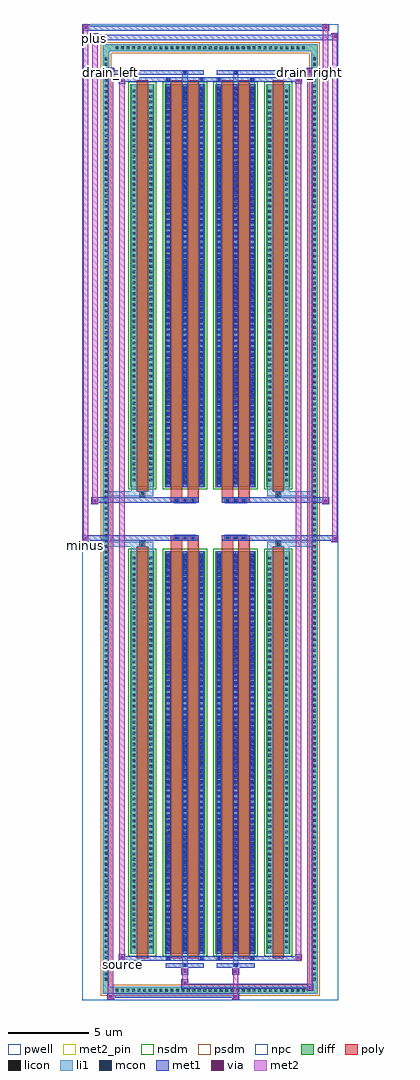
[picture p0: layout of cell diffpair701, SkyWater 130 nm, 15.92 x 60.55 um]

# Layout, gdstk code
import gdstk
lib = gdstk.Library(unit=1e-6, precision=5e-09)
def R(c, l, rs):  # rectangles x0, y0, x1, y1
    for r in rs: c.add(gdstk.rectangle(r[:2], r[2:], *l))
def A(c, l, x, y, w, h, nx, ny, dx, dy):  # array of equal rectangles
    R(c, l, [(x+i*dx, y+j*dy, x+i*dx+w, y+j*dy+h) for i in range(nx) for j in range(ny)])
def P(c, l, *ps):  # polygons
    for p in ps: c.add(gdstk.Polygon(p, *l))
pwell = (64, 44)
diff = (65, 20)
poly = (66, 20)
licon = (66, 44)
li1 = (67, 20)
mcon = (67, 44)
met1 = (68, 20)
via = (68, 44)
met2_pin = (69, 16)
met2 = (69, 20)
nsdm = (93, 44)
psdm = (94, 20)
npc = (95, 20)

diffpair701 = lib.new_cell('diffpair701')
R(diffpair701, pwell, [(-7.94,-29.84,7.94,30.71), (-5.26,-28.03,-0.01,-0.805), (0.01,-28.03,5.26,-0.805), (-5.26,0.805,-0.01,28.03), (0.01,0.805,5.26,28.03)])
A(diffpair701, diff, -5.985, -29.44, 0.41, 0.41, 35, 2, 0.34, 58.47)
A(diffpair701, diff, -6.67, -28.765, 0.41, 0.41, 1, 169, 0, 0.34)
A(diffpair701, diff, 6.26, -28.765, 0.41, 0.41, 1, 169, 0, 0.34)
R(diffpair701, diff, [(-5.985,-29.44,5.985,-29.03), (-6.67,-28.765,-6.26,28.765), (6.26,-28.765,6.67,28.765), (-4.95,-26.985,-3.47,-1.985), (-2.83,-26.985,-0.32,-1.985), (0.32,-26.985,2.83,-1.985), (3.47,-26.985,4.95,-1.985), (-4.95,1.985,-3.47,26.985), (-2.83,1.985,-0.32,26.985), (0.32,1.985,2.83,26.985), (3.47,1.985,4.95,26.985), (-5.985,29.03,5.985,29.44)])
P(diffpair701, diff, [(6.67,29.44),(-6.67,29.44),(-6.67,-29.03),(-6.26,-29.03),(-6.26,29.03),(6.26,29.03),(6.26,-29.03),(-6.26,-29.03),(-6.67,-29.03),(-6.67,-29.44),(6.67,-29.44)])
A(diffpair701, poly, -2.24, -1.335, 0.33, 0.33, 3, 2, 0.5, 2.34)
A(diffpair701, poly, 0.91, -1.335, 0.33, 0.33, 3, 2, 0.5, 2.34)
R(diffpair701, poly, [(-4.56,-27.235,-3.86,-1.735), (-2.44,-27.235,-1.74,-1.735), (-1.41,-27.235,-0.71,-1.735), (0.71,-27.235,1.41,-1.735), (1.74,-27.235,2.44,-1.735), (3.86,-27.235,4.56,-1.735), (-4.375,-1.735,-4.045,-1.405), (-4.375,-1.735,-4.045,-1.405), (-2.44,-1.735,-1.74,-1.335), (-1.41,-1.735,-0.71,-1.335), (0.71,-1.735,1.41,-1.335), (1.74,-1.735,2.44,-1.335), (4.045,-1.735,4.375,-1.405), (4.045,-1.735,4.375,-1.405), (-2.44,-1.335,-0.71,-1.005), (0.71,-1.335,2.44,-1.005), (-2.44,1.005,-0.71,1.335), (0.71,1.005,2.44,1.335), (-2.44,1.335,-1.74,1.735), (-1.41,1.335,-0.71,1.735), (0.71,1.335,1.41,1.735), (1.74,1.335,2.44,1.735), (-4.375,1.405,-4.045,1.735), (-4.375,1.405,-4.045,1.735), (4.045,1.405,4.375,1.735), (4.045,1.405,4.375,1.735), (-4.56,1.735,-3.86,27.235), (-2.44,1.735,-1.74,27.235), (-1.41,1.735,-0.71,27.235), (0.71,1.735,1.41,27.235), (1.74,1.735,2.44,27.235), (3.86,1.735,4.56,27.235)])
A(diffpair701, licon, -5.865, -29.32, 0.17, 0.17, 35, 2, 0.34, 58.47)
A(diffpair701, licon, -6.55, -28.645, 0.17, 0.17, 1, 169, 0, 0.34)
A(diffpair701, licon, 6.38, -28.645, 0.17, 0.17, 1, 169, 0, 0.34)
A(diffpair701, licon, -4.81, -26.64, 0.17, 0.17, 1, 72, 0, 0.34)
A(diffpair701, licon, -3.78, -26.64, 0.17, 0.17, 1, 72, 0, 0.34)
A(diffpair701, licon, -2.69, -26.64, 0.17, 0.17, 3, 72, 1.03, 0.34)
A(diffpair701, licon, 0.46, -26.64, 0.17, 0.17, 3, 72, 1.03, 0.34)
A(diffpair701, licon, 3.61, -26.64, 0.17, 0.17, 1, 72, 0, 0.34)
A(diffpair701, licon, 4.64, -26.64, 0.17, 0.17, 1, 72, 0, 0.34)
A(diffpair701, licon, -2.16, -1.255, 0.17, 0.17, 3, 2, 0.5, 2.34)
A(diffpair701, licon, 0.99, -1.255, 0.17, 0.17, 3, 2, 0.5, 2.34)
A(diffpair701, licon, -4.81, 2.33, 0.17, 0.17, 1, 72, 0, 0.34)
A(diffpair701, licon, -3.78, 2.33, 0.17, 0.17, 1, 72, 0, 0.34)
A(diffpair701, licon, -2.69, 2.33, 0.17, 0.17, 3, 72, 1.03, 0.34)
A(diffpair701, licon, 0.46, 2.33, 0.17, 0.17, 3, 72, 1.03, 0.34)
A(diffpair701, licon, 3.61, 2.33, 0.17, 0.17, 1, 72, 0, 0.34)
A(diffpair701, licon, 4.64, 2.33, 0.17, 0.17, 1, 72, 0, 0.34)
R(diffpair701, licon, [(-4.295,-1.655,-4.125,-1.485), (4.125,-1.655,4.295,-1.485), (-4.295,1.485,-4.125,1.655), (4.125,1.485,4.295,1.655)])
A(diffpair701, li1, -5.945, -29.4, 0.33, 0.33, 35, 2, 0.34, 58.47)
A(diffpair701, li1, -6.63, -28.725, 0.33, 0.33, 1, 169, 0, 0.34)
A(diffpair701, li1, 6.3, -28.725, 0.33, 0.33, 1, 169, 0, 0.34)
A(diffpair701, li1, -2.77, -26.985, 0.33, 25, 3, 2, 1.03, 28.97)
A(diffpair701, li1, 0.38, -26.985, 0.33, 25, 3, 2, 1.03, 28.97)
A(diffpair701, li1, -2.69, -26.81, 0.17, 0.17, 3, 69, 1.03, 0.36)
A(diffpair701, li1, -2.69, -26.81, 0.17, 24.65, 3, 2, 1.03, 28.97)
A(diffpair701, li1, 0.46, -26.81, 0.17, 0.17, 3, 69, 1.03, 0.36)
A(diffpair701, li1, 0.46, -26.81, 0.17, 24.65, 3, 2, 1.03, 28.97)
A(diffpair701, li1, -4.89, -26.72, 0.33, 0.33, 1, 72, 0, 0.34)
A(diffpair701, li1, -3.86, -26.72, 0.33, 0.33, 1, 72, 0, 0.34)
A(diffpair701, li1, -2.77, -26.72, 0.33, 0.33, 3, 72, 1.03, 0.34)
A(diffpair701, li1, 0.38, -26.72, 0.33, 0.33, 3, 72, 1.03, 0.34)
A(diffpair701, li1, 3.53, -26.72, 0.33, 0.33, 1, 72, 0, 0.34)
A(diffpair701, li1, 4.56, -26.72, 0.33, 0.33, 1, 72, 0, 0.34)
A(diffpair701, li1, -2.24, -1.335, 0.33, 0.33, 3, 2, 0.5, 2.34)
A(diffpair701, li1, 0.91, -1.335, 0.33, 0.33, 3, 2, 0.5, 2.34)
A(diffpair701, li1, -2.69, 2.16, 0.17, 0.17, 3, 69, 1.03, 0.36)
A(diffpair701, li1, 0.46, 2.16, 0.17, 0.17, 3, 69, 1.03, 0.36)
A(diffpair701, li1, -4.89, 2.25, 0.33, 0.33, 1, 72, 0, 0.34)
A(diffpair701, li1, -3.86, 2.25, 0.33, 0.33, 1, 72, 0, 0.34)
A(diffpair701, li1, -2.77, 2.25, 0.33, 0.33, 3, 72, 1.03, 0.34)
A(diffpair701, li1, 0.38, 2.25, 0.33, 0.33, 3, 72, 1.03, 0.34)
A(diffpair701, li1, 3.53, 2.25, 0.33, 0.33, 1, 72, 0, 0.34)
A(diffpair701, li1, 4.56, 2.25, 0.33, 0.33, 1, 72, 0, 0.34)
R(diffpair701, li1, [(-6.67,-29.44,-6.26,-29.03), (-6.67,-29.44,-6.26,-29.03), (-6.26,-29.44,6.26,-29.03), (6.26,-29.44,6.67,-29.03), (6.26,-29.44,6.67,-29.03), (-6.67,-29.03,-6.26,29.03), (6.26,-29.03,6.67,29.03), (-1.74,-27.79,-1.41,-26.985), (-1.66,-27.79,-1.49,-27.62), (1.41,-27.79,1.74,-26.985), (1.49,-27.79,1.66,-27.62), (-2.77,-27.36,-2.44,-26.985), (-2.69,-27.36,-2.52,-27.19), (-0.71,-27.36,-0.38,-26.985), (-0.63,-27.36,-0.46,-27.19), (0.38,-27.36,0.71,-26.985), (0.46,-27.36,0.63,-27.19), (2.44,-27.36,2.77,-26.985), (2.52,-27.36,2.69,-27.19), (-4.89,-26.985,-4.56,-1.985), (-3.86,-26.985,-3.53,-1.985), (3.53,-26.985,3.86,-1.985), (4.56,-26.985,4.89,-1.985), (-4.89,-1.985,-4.56,-1.405), (-3.86,-1.985,-3.53,-1.405), (3.53,-1.985,3.86,-1.405), (4.56,-1.985,4.89,-1.405), (-6.67,-1.735,-4.375,-1.405), (-4.89,-1.735,-4.375,-1.405), (-4.375,-1.735,-4.045,-1.405), (-4.045,-1.735,-3.53,-1.405), (3.53,-1.735,4.045,-1.405), (4.045,-1.735,4.375,-1.405), (4.045,-1.735,6.67,-1.405), (4.375,-1.735,4.89,-1.405), (-6.67,1.405,-4.375,1.735), (-4.89,1.405,-4.375,1.735), (-4.89,1.405,-4.56,1.985), (-4.375,1.405,-4.045,1.735), (-4.045,1.405,-3.53,1.735), (-3.86,1.405,-3.53,1.985), (3.53,1.405,4.045,1.735), (3.53,1.405,3.86,1.985), (4.045,1.405,4.375,1.735), (4.045,1.405,6.67,1.735), (4.375,1.405,4.89,1.735), (4.56,1.405,4.89,1.985), (-4.89,1.985,-4.56,26.985), (-3.86,1.985,-3.53,26.985), (3.53,1.985,3.86,26.985), (4.56,1.985,4.89,26.985), (-2.77,26.985,-2.44,27.36), (-1.74,26.985,-1.41,27.79), (-0.71,26.985,-0.38,27.36), (0.38,26.985,0.71,27.36), (1.41,26.985,1.74,27.79), (2.44,26.985,2.77,27.36), (-2.69,27.19,-2.52,27.36), (-0.63,27.19,-0.46,27.36), (0.46,27.19,0.63,27.36), (2.52,27.19,2.69,27.36), (-1.66,27.62,-1.49,27.79), (1.49,27.62,1.66,27.79), (-6.67,29.03,-6.26,29.44), (-6.67,29.03,-6.26,29.44), (-6.26,29.03,6.26,29.44), (6.26,29.03,6.67,29.44), (6.26,29.03,6.67,29.44)])
A(diffpair701, mcon, -2.69, -26.81, 0.17, 0.17, 3, 69, 1.03, 0.36)
A(diffpair701, mcon, 0.46, -26.81, 0.17, 0.17, 3, 69, 1.03, 0.36)
A(diffpair701, mcon, -2.16, -1.255, 0.17, 0.17, 3, 2, 0.5, 2.34)
A(diffpair701, mcon, 0.99, -1.255, 0.17, 0.17, 3, 2, 0.5, 2.34)
A(diffpair701, mcon, -2.69, 2.16, 0.17, 0.17, 3, 69, 1.03, 0.36)
A(diffpair701, mcon, 0.46, 2.16, 0.17, 0.17, 3, 69, 1.03, 0.36)
R(diffpair701, mcon, [(-1.66,-27.79,-1.49,-27.62), (1.49,-27.79,1.66,-27.62), (-2.69,-27.36,-2.52,-27.19), (-0.63,-27.36,-0.46,-27.19), (0.46,-27.36,0.63,-27.19), (2.52,-27.36,2.69,-27.19), (-2.69,27.19,-2.52,27.36), (-0.63,27.19,-0.46,27.36), (0.46,27.19,0.63,27.36), (2.52,27.19,2.69,27.36), (-1.66,27.62,-1.49,27.79), (1.49,27.62,1.66,27.79)])
A(diffpair701, met1, -2.75, -26.985, 0.29, 25, 3, 2, 1.03, 28.97)
A(diffpair701, met1, 0.4, -26.985, 0.29, 25, 3, 2, 1.03, 28.97)
A(diffpair701, met1, -2.75, -26.87, 0.29, 0.29, 3, 69, 1.03, 0.36)
A(diffpair701, met1, 0.4, -26.87, 0.29, 0.29, 3, 69, 1.03, 0.36)
A(diffpair701, met1, -2.22, -1.315, 0.29, 0.29, 3, 2, 0.5, 2.34)
A(diffpair701, met1, 0.93, -1.315, 0.29, 0.29, 3, 2, 0.5, 2.34)
A(diffpair701, met1, -2.75, 2.1, 0.29, 0.29, 3, 69, 1.03, 0.36)
A(diffpair701, met1, 0.4, 2.1, 0.29, 0.29, 3, 69, 1.03, 0.36)
R(diffpair701, met1, [(-6.4,-29.84,-5.97,-29.41), (1.36,-29.84,1.79,-29.41), (-6.4,-29.7,1.79,-29.41), (5.97,-29.27,6.4,-28.84), (-1.79,-29.13,6.4,-28.84), (-1.79,-28.99,-1.36,-28.56), (-1.79,-28.28,-1.36,-27.85), (1.36,-28.28,1.79,-27.85), (-2.75,-27.85,-0.4,-27.56), (-1.72,-27.85,-1.43,-27.56), (0.4,-27.85,2.75,-27.56), (1.43,-27.85,1.72,-27.56), (-5.69,-27.42,-5.26,-26.99), (-5.69,-27.42,-2.75,-27.13), (-2.75,-27.42,-2.46,-27.13), (-2.75,-27.42,-0.4,-27.13), (-0.69,-27.42,-0.4,-27.13), (-0.4,-27.42,0.4,-27.13), (0.4,-27.42,0.69,-27.13), (0.4,-27.42,2.75,-27.13), (2.46,-27.42,2.75,-27.13), (2.75,-27.42,5.69,-27.13), (5.26,-27.42,5.69,-26.99), (-7.94,-1.435,-7.51,-1.005), (7.51,-1.435,7.94,-1.005), (-7.94,-1.335,-0.71,-1.005), (-2.44,-1.335,-0.71,-1.005), (0.71,-1.335,2.44,-1.005), (0.71,-1.335,7.94,-1.005), (-7.37,0.905,-6.94,1.335), (6.94,0.905,7.37,1.335), (-7.37,1.005,-2.44,1.335), (-2.44,1.005,-0.71,1.335), (0.71,1.005,2.44,1.335), (2.44,1.005,7.37,1.335), (-5.69,26.99,-5.26,27.42), (5.26,26.99,5.69,27.42), (-5.69,27.13,-2.75,27.42), (-2.75,27.13,-2.46,27.42), (-2.75,27.13,-0.4,27.42), (-0.69,27.13,-0.4,27.42), (-0.4,27.13,0.4,27.42), (0.4,27.13,0.69,27.42), (0.4,27.13,2.75,27.42), (2.46,27.13,2.75,27.42), (2.75,27.13,5.69,27.42), (-6.4,27.56,-5.97,27.99), (-6.4,27.56,-2.75,27.85), (-2.75,27.56,-0.4,27.85), (-1.72,27.56,-1.43,27.85), (0.4,27.56,2.75,27.85), (1.43,27.56,1.72,27.85), (2.75,27.56,6.4,27.85), (5.97,27.56,6.4,27.99), (-7.37,29.71,-6.94,30.14), (-7.37,29.71,-5.26,30.04), (-5.26,29.71,5.26,30.04), (5.26,29.71,7.94,30.04), (7.51,29.71,7.94,30.14), (-7.94,30.28,-7.51,30.71), (-7.94,30.28,-5.26,30.61), (-5.26,30.28,5.26,30.61), (5.26,30.28,7.37,30.61), (6.94,30.28,7.37,30.71)])
R(diffpair701, via, [(-6.26,-29.7,-6.11,-29.55), (1.5,-29.7,1.65,-29.55), (6.11,-29.13,6.26,-28.98), (-1.65,-28.85,-1.5,-28.7), (-1.65,-28.14,-1.5,-27.99), (1.5,-28.14,1.65,-27.99), (-5.55,-27.28,-5.4,-27.13), (5.4,-27.28,5.55,-27.13), (-7.8,-1.295,-7.65,-1.145), (7.65,-1.295,7.8,-1.145), (-7.23,1.045,-7.08,1.195), (7.08,1.045,7.23,1.195), (-5.55,27.13,-5.4,27.28), (5.4,27.13,5.55,27.28), (-6.26,27.7,-6.11,27.85), (6.11,27.7,6.26,27.85), (-7.23,29.85,-7.08,30), (7.65,29.85,7.8,30), (-7.8,30.42,-7.65,30.57), (7.08,30.42,7.23,30.57)])
R(diffpair701, met2_pin, [(-5.725,-27.87,-5.225,-27.37), (-7.975,-1.885,-7.475,-1.385), (-6.435,27.44,-5.935,27.94), (5.935,27.44,6.435,27.94), (-7.405,29.59,-6.905,30.09)])
R(diffpair701, met2, [(-6.35,-29.79,-6.02,-29.46), (-6.35,-29.79,-6.02,27.94), (1.41,-29.79,1.74,-29.46), (1.41,-29.46,1.74,-28.23), (6.02,-29.22,6.35,-28.89), (6.02,-29.22,6.35,27.94), (-1.74,-28.94,-1.41,-28.61), (-1.74,-28.61,-1.41,-28.23), (-1.74,-28.23,-1.41,-27.9), (1.41,-28.23,1.74,-27.9), (-5.64,-27.37,-5.31,-27.04), (-5.64,-27.37,-5.31,27.37), (5.31,-27.37,5.64,-27.04), (5.31,-27.37,5.64,27.37), (-7.89,-1.385,-7.56,-1.055), (-7.89,-1.385,-7.56,30.66), (7.56,-1.385,7.89,-1.055), (7.56,-1.385,7.89,30.09), (-7.32,0.955,-6.99,1.285), (-7.32,0.955,-6.99,30.09), (6.99,0.955,7.32,1.285), (6.99,0.955,7.32,30.66), (-5.64,27.04,-5.31,27.37), (5.31,27.04,5.64,27.37), (-6.35,27.61,-6.02,27.94), (6.02,27.61,6.35,27.94), (-7.32,29.76,-6.99,30.09), (7.56,29.76,7.89,30.09), (-7.89,30.33,-7.56,30.66), (6.99,30.33,7.32,30.66)])
P(diffpair701, met2, [(7.89,-1.385),(7.89,-1.385),(7.89,-1.055),(7.89,-1.055)],
  [(7.89,29.76),(7.89,29.76),(7.89,30.09),(7.89,30.09)],
  [(-7.56,-1.385),(-7.56,-1.385),(-7.56,-1.055),(-7.56,-1.055)],
  [(-7.56,30.33),(-7.56,30.33),(-7.56,30.66),(-7.56,30.66)],
  [(7.32,0.955),(7.32,0.955),(7.32,1.285),(7.32,1.285)],
  [(7.32,30.33),(7.32,30.33),(7.32,30.66),(7.32,30.66)],
  [(-6.99,0.955),(-6.99,0.955),(-6.99,1.285),(-6.99,1.285)],
  [(-6.99,29.76),(-6.99,29.76),(-6.99,30.09),(-6.99,30.09)],
  [(-6.02,-29.79),(-6.02,-29.79),(-6.02,-29.46),(-6.02,-29.46)],
  [(-6.02,27.61),(-6.02,27.61),(-6.02,27.94),(-6.02,27.94)],
  [(6.35,-29.22),(6.35,-29.22),(6.35,-28.89),(6.35,-28.89)],
  [(6.35,27.61),(6.35,27.61),(6.35,27.94),(6.35,27.94)],
  [(-5.31,-27.37),(-5.31,-27.37),(-5.31,-27.04),(-5.31,-27.04)],
  [(-5.31,27.04),(-5.31,27.04),(-5.31,27.37),(-5.31,27.37)],
  [(5.64,-27.37),(5.64,-27.37),(5.64,-27.04),(5.64,-27.04)],
  [(5.64,27.04),(5.64,27.04),(5.64,27.37),(5.64,27.37)])
R(diffpair701, nsdm, [(-5.08,-27.115,-3.34,-1.855), (-2.96,-27.115,-0.19,-1.855), (0.19,-27.115,2.96,-1.855), (3.34,-27.115,5.08,-1.855), (-5.08,1.855,-3.34,27.115), (-2.96,1.855,-0.19,27.115), (0.19,1.855,2.96,27.115), (3.34,1.855,5.08,27.115)])
P(diffpair701, psdm, [(6.8,29.57),(-6.8,29.57),(-6.8,-28.9),(-6.13,-28.9),(-6.13,28.9),(6.13,28.9),(6.13,-28.9),(-6.13,-28.9),(-6.8,-28.9),(-6.8,-29.57),(6.8,-29.57)])
A(diffpair701, npc, -2.26, -1.355, 0.37, 0.37, 3, 2, 0.5, 2.34)
A(diffpair701, npc, 0.89, -1.355, 0.37, 0.37, 3, 2, 0.5, 2.34)
R(diffpair701, npc, [(-4.395,-1.755,-4.025,-1.385), (4.025,-1.755,4.395,-1.385), (-2.26,-1.355,-1.39,-0.985), (-2.26,-1.355,-1.39,-0.985), (-1.76,-1.355,-0.89,-0.985), (-1.76,-1.355,-0.89,-0.985), (0.89,-1.355,1.76,-0.985), (0.89,-1.355,1.76,-0.985), (1.39,-1.355,2.26,-0.985), (1.39,-1.355,2.26,-0.985), (-2.26,0.985,-1.39,1.355), (-2.26,0.985,-1.39,1.355), (-1.76,0.985,-0.89,1.355), (-1.76,0.985,-0.89,1.355), (0.89,0.985,1.76,1.355), (0.89,0.985,1.76,1.355), (1.39,0.985,2.26,1.355), (1.39,0.985,2.26,1.355), (-4.395,1.385,-4.025,1.755), (4.025,1.385,4.395,1.755)])
diffpair701.add(gdstk.Label('minus', (-7.725,-1.635), layer=69, texttype=5))
diffpair701.add(gdstk.Label('drain_right', (6.185,27.69), layer=69, texttype=5))
diffpair701.add(gdstk.Label('drain_left', (-6.185,27.69), layer=69, texttype=5))
diffpair701.add(gdstk.Label('source', (-5.475,-27.62), layer=69, texttype=5))
diffpair701.add(gdstk.Label('plus', (-7.155,29.84), layer=69, texttype=5))

lib.write_gds('diffpair701.gds')
